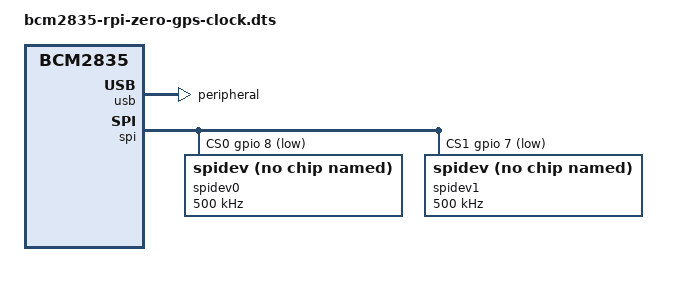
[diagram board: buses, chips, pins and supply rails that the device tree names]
/dts-v1/;

/* include the base rpi-zero dts and add configuration for USB/SPI */
#include "bcm2835-rpi-zero.dts"

/ {
	chosen {
		bootargs = "earlyprintk console=ttyAMA0 root=/dev/mmcblk0p2 rw rootfstype=ext4 rootwait";
	};
};

&gpio {
	pinctrl-0 = <&gpioout>;

	spi0_pins: spi0_pins {
		brcm,pins = <9 10 11>;
		brcm,function = <4>; /* alt0 */
	};

	spi0_cs_pins: spi0_cs_pins {
		brcm,pins = <8 7>;
		brcm,function = <1>; /* output */
	};
};

&usb {
	status = "okay";
	/*dr_mode = "otg";*/
	dr_mode = "peripheral"; /* force into device mode */
	g-np-tx-fifo-size = <32>;
	g-rx-fifo-size = <256>;
	/*g-tx-fifo-size = <512 512 512 512 512 768>;*/
	g-tx-fifo-size = <256 128 128 64 64 64 32>;
};

/* spi == spi0 */
&spi {
	pinctrl-names = "default";
	/*pinctrl-0 = <&spi0_gpio7>;*/
	pinctrl-0 = <&spi0_pins &spi0_cs_pins>;
	cs-gpios = <&gpio 8 1>, <&gpio 7 1>;
	status = "okay";

	spidev0: spidev@0 {
		#address-cells = <1>;
		#size-cells = <0>;
		compatible = "spidev";
		reg = <0>; /* CE0 */
		spi-max-frequency = <500000>;
	};

	spidev1: spidev@1 {
		#address-cells = <1>;
		#size-cells = <0>;
		compatible = "spidev";
		reg = <1>; /* CE1 */
		spi-max-frequency = <500000>;
	};
};

